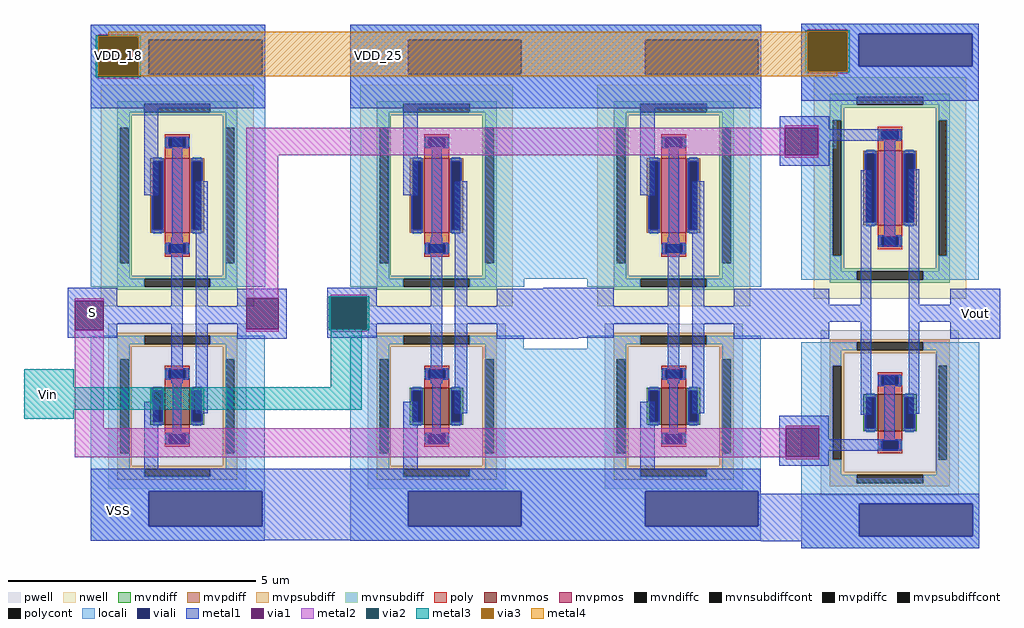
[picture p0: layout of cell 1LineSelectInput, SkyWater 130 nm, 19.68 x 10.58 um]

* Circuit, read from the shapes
.subckt 1LineSelectInput VDD_18 VSS Vin Vout S VDD_25
XM1 x2/SP S VSS VSS sky130_fd_pr__nfet_g5v0d10v5 w=0.75 l=0.5
XM2 x1/x2/Vin Vin VSS VSS sky130_fd_pr__nfet_g5v0d10v5 w=0.75 l=0.5
XM3 x2/In x1/x2/Vin VSS VSS sky130_fd_pr__nfet_g5v0d10v5 w=0.75 l=0.5
XM4 Vout S x2/In VSS sky130_fd_pr__nfet_g5v0d10v5 w=0.75 l=0.5
XM5 x2/SP S VDD_18 VDD_18 sky130_fd_pr__pfet_g5v0d10v5 w=1.5 l=0.5
XM6 x1/x2/Vin Vin VDD_25 VDD_25 sky130_fd_pr__pfet_g5v0d10v5 w=1.5 l=0.5
XM7 x2/In x1/x2/Vin VDD_25 VDD_25 sky130_fd_pr__pfet_g5v0d10v5 w=1.5 l=0.5
XM8 Vout x2/SP x2/In VDD_18 sky130_fd_pr__pfet_g5v0d10v5 w=1.5 l=0.5
.ends

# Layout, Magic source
magic
tech sky130B
magscale 1 2
<< metal1 >>
rect 1462 2860 1662 2884
rect 1462 2700 1480 2860
rect 1640 2700 1662 2860
rect 1462 2684 1662 2700
rect 2508 2684 2708 2884
rect 4330 2720 4340 2880
rect 4500 2720 4510 2880
rect 4238 2382 4248 2492
rect 4384 2382 4394 2492
rect 1356 1794 1556 1846
rect 1356 1676 1384 1794
rect 1502 1676 1556 1794
rect 2066 1680 2076 1804
rect 2208 1680 2218 1804
rect 2408 1680 2418 1808
rect 2562 1680 2572 1808
rect 1356 1646 1556 1676
rect 4916 1642 5116 1842
rect 4242 1166 4252 1280
rect 4388 1166 4398 1280
rect 1460 850 1660 1050
rect 2148 828 2562 1116
rect 4147 1009 4437 1016
rect 4152 824 4346 1009
<< via1 >>
rect 1480 2700 1640 2860
rect 4340 2720 4500 2880
rect 4248 2382 4384 2492
rect 1384 1676 1502 1794
rect 2076 1680 2208 1804
rect 2418 1680 2562 1808
rect 4252 1166 4388 1280
<< metal2 >>
rect 4340 2880 4500 2890
rect 1480 2860 1640 2870
rect 4340 2710 4500 2720
rect 1480 2690 1640 2700
rect 4248 2492 4384 2502
rect 2076 2382 4248 2492
rect 4384 2382 4386 2492
rect 2076 1814 2206 2382
rect 4248 2372 4384 2382
rect 2076 1804 2208 1814
rect 1384 1794 1502 1804
rect 1384 1280 1502 1676
rect 2076 1670 2208 1680
rect 2418 1808 2562 1818
rect 2418 1670 2562 1680
rect 4252 1280 4388 1290
rect 1384 1166 4252 1280
rect 1384 1164 4388 1166
rect 4252 1156 4388 1164
<< via2 >>
rect 1480 2700 1640 2860
rect 4340 2720 4500 2880
rect 2418 1680 2562 1808
<< metal3 >>
rect 4330 2880 4510 2885
rect 1470 2860 1650 2865
rect 1470 2700 1480 2860
rect 1640 2700 1650 2860
rect 4330 2720 4340 2880
rect 4500 2720 4510 2880
rect 4330 2715 4510 2720
rect 1470 2695 1650 2700
rect 2408 1808 2572 1813
rect 2408 1680 2418 1808
rect 2562 1680 2572 1808
rect 2408 1675 2572 1680
rect 1180 1446 1380 1518
rect 2418 1446 2542 1675
rect 1180 1354 2542 1446
rect 1180 1318 1380 1354
<< via3 >>
rect 1480 2700 1640 2860
rect 4340 2720 4500 2880
<< metal4 >>
rect 4339 2880 4501 2881
rect 1520 2861 4340 2880
rect 1479 2860 4340 2861
rect 1479 2700 1480 2860
rect 1640 2720 4340 2860
rect 4500 2720 4501 2880
rect 1640 2719 4501 2720
rect 1640 2700 4460 2719
rect 1479 2699 1641 2700
use Buffer  x1
transform 1 0 544 0 1 -534
box 1858 1360 3698 3442
use TransmissionGate  x2
transform 1 0 4100 0 1 376
box 126 420 1016 2536
use Inverter  x3
transform 1 0 460 0 1 1270
box 896 -444 1780 1638
<< labels >>
flabel metal1 1356 1646 1556 1846 0 FreeSans 256 0 0 0 S
port 4 nsew
flabel metal3 1180 1318 1380 1518 0 FreeSans 256 0 0 0 Vin
port 2 nsew
flabel metal1 1460 850 1660 1050 0 FreeSans 256 0 0 0 VSS
port 1 nsew
flabel metal1 4916 1642 5116 1842 0 FreeSans 256 0 0 0 Vout
port 3 nsew
flabel metal1 2508 2684 2708 2884 0 FreeSans 256 0 0 0 VDD_25
port 5 nsew
flabel metal1 1462 2684 1662 2884 0 FreeSans 256 0 0 0 VDD_18
port 0 nsew
<< end >>

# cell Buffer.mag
magic
tech sky130B
<< locali >>
rect 1327 1553 1454 1721
rect 1326 1209 1454 1553
rect 1326 680 1454 1067
<< metal1 >>
rect 982 1609 1082 1709
rect 1327 1552 1454 1721
rect 929 1090 1029 1190
rect 1365 1088 1436 1190
rect 1749 1088 1849 1188
rect 979 694 1079 794
rect 1326 680 1454 825
use Inverter  x1
transform 1 0 481 0 1 902
box 448 -222 890 819
use Inverter  x2
transform 1 0 959 0 1 902
box 448 -222 890 819
<< labels >>
flabel metal1 929 1090 1029 1190 0 FreeSans 128 0 0 0 Vin
port 2 nsew
flabel metal1 1749 1088 1849 1188 0 FreeSans 128 0 0 0 Vout
port 3 nsew
flabel metal1 982 1609 1082 1709 0 FreeSans 128 0 0 0 VDD
port 0 nsew
flabel metal1 979 694 1079 794 0 FreeSans 128 0 0 0 VSS
port 1 nsew
<< end >>

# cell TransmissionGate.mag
magic
tech sky130B
magscale 1 2
<< locali >>
rect 214 2496 930 2536
rect 214 2364 446 2496
rect 904 2364 930 2496
rect 214 2212 930 2364
rect 214 2156 342 2212
rect 214 2034 356 2156
rect 214 1504 342 2034
rect 802 1504 930 2212
rect 214 702 342 1252
rect 758 702 932 1252
rect 214 600 932 702
rect 214 468 448 600
rect 906 468 932 600
rect 214 420 932 468
<< viali >>
rect 446 2364 904 2496
rect 448 468 906 600
<< metal1 >>
rect 214 2496 930 2536
rect 214 2364 446 2496
rect 904 2364 930 2496
rect 214 2226 930 2364
rect 128 2110 328 2162
rect 128 2064 602 2110
rect 128 1962 328 2064
rect 128 1402 328 1466
rect 454 1402 496 1944
rect 550 1640 594 2064
rect 128 1334 496 1402
rect 128 1266 328 1334
rect 454 958 496 1334
rect 648 1402 690 1948
rect 816 1402 1016 1466
rect 648 1334 1016 1402
rect 126 860 326 954
rect 550 860 592 1112
rect 648 962 690 1334
rect 816 1266 1016 1334
rect 126 814 544 860
rect 126 754 326 814
rect 214 600 932 640
rect 214 468 448 600
rect 906 468 932 600
rect 214 420 932 468
use sky130_fd_pr__nfet_g5v0d10v5_6XHARQ  XM1
transform 1 0 572 0 1 967
box -278 -333 278 333
use sky130_fd_pr__pfet_g5v0d10v5_7EBZY6  XM2
transform 1 0 572 0 1 1873
box -308 -447 308 447
<< labels >>
flabel metal1 228 2328 428 2528 0 FreeSans 256 0 0 0 VDD
port 3 nsew
flabel metal1 230 432 430 632 0 FreeSans 256 0 0 0 VSS
port 4 nsew
flabel metal1 128 1266 328 1466 0 FreeSans 256 0 0 0 In
port 1 nsew
flabel metal1 816 1266 1016 1466 0 FreeSans 256 0 0 0 Out
port 0 nsew
flabel metal1 128 1962 328 2162 0 FreeSans 256 0 0 0 SP
port 2 nsew
flabel metal1 126 754 326 954 0 FreeSans 256 0 0 0 SN
port 5 nsew
<< end >>

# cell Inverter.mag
magic
tech sky130B
magscale 1 2
<< locali >>
rect 990 1578 1692 1638
rect 990 1438 1224 1578
rect 1680 1438 1692 1578
rect 990 1286 1692 1438
rect 990 584 1146 1286
rect 1534 584 1692 1286
rect 990 580 1112 584
rect 1568 580 1692 584
rect 990 382 1108 384
rect 1568 382 1690 384
rect 990 -186 1146 382
rect 1534 -186 1690 382
rect 990 -244 1690 -186
rect 990 -384 1224 -244
rect 1680 -384 1690 -244
rect 990 -444 1690 -384
<< viali >>
rect 1224 1438 1680 1578
rect 1224 -384 1680 -244
<< metal1 >>
rect 990 1578 1692 1638
rect 990 1438 1224 1578
rect 1680 1438 1692 1578
rect 990 1300 1692 1438
rect 1204 950 1262 1300
rect 1318 780 1358 1178
rect 1438 1004 1462 1006
rect 896 502 1096 576
rect 1314 502 1360 780
rect 896 432 1360 502
rect 896 376 1096 432
rect 1314 192 1360 432
rect 1412 502 1462 1004
rect 1580 502 1780 572
rect 1412 432 1780 502
rect 1204 -154 1262 118
rect 1320 -48 1354 192
rect 1412 70 1462 432
rect 1580 372 1780 432
rect 990 -244 1690 -154
rect 990 -384 1224 -244
rect 1680 -384 1690 -244
rect 990 -444 1690 -384
use sky130_fd_pr__nfet_g5v0d10v5_6XHARQ  XM1 ~/Project/magic
transform 1 0 1338 0 1 99
box -278 -333 278 333
use sky130_fd_pr__pfet_g5v0d10v5_7EBZY6  XM2 ~/Project/magic
transform 1 0 1338 0 1 949
box -308 -447 308 447
<< labels >>
flabel metal1 1002 1414 1202 1614 0 FreeSans 256 0 0 0 VDD
port 1 nsew
flabel metal1 1000 -420 1200 -220 0 FreeSans 256 0 0 0 VSS
port 2 nsew
flabel metal1 896 376 1096 576 0 FreeSans 256 0 0 0 Vin
port 0 nsew
flabel metal1 1580 372 1780 572 0 FreeSans 256 0 0 0 Vout
port 3 nsew
<< end >>

# cell sky130_fd_pr__nfet_g5v0d10v5_6XHARQ: kit device sky130_fd_pr__nfet_g5v0d10v5, w 0.75 l 0.5 m 1 nf 1 diffcov 100 polycov 100 guard 1 glc 1 grc 1 gtc 1 gbc 1 tbcov 100 rlcov 100 topc 1 botc 1 poverlap 0 doverlap 1 lmin 0.50 wmin 0.42 compatible {sky130_fd_pr__nfet_01v8 sky130_fd_pr__nfet_01v8_lvt sky130_fd_bs_flash__special_sonosfet_star sky130_fd_pr__nfet_g5v0d10v5 sky130_fd_pr__nfet_05v0_nvt sky130_fd_pr__nfet_03v3_nvt} full_metal 1 viasrc 100 viadrn 100 viagate 100 viagb 0 viagr 0 viagl 0 viagt 0

# cell sky130_fd_pr__pfet_g5v0d10v5_7EBZY6: kit device sky130_fd_pr__pfet_g5v0d10v5, w 1.5 l 0.5 m 1 nf 1 diffcov 100 polycov 100 guard 1 glc 1 grc 1 gtc 1 gbc 1 tbcov 100 rlcov 100 topc 1 botc 1 poverlap 0 doverlap 1 lmin 0.50 wmin 0.42 compatible {sky130_fd_pr__pfet_01v8 sky130_fd_pr__pfet_01v8_lvt sky130_fd_pr__pfet_01v8_hvt sky130_fd_pr__pfet_g5v0d10v5} full_metal 1 viasrc 100 viadrn 100 viagate 100 viagb 0 viagr 0 viagl 0 viagt 0
